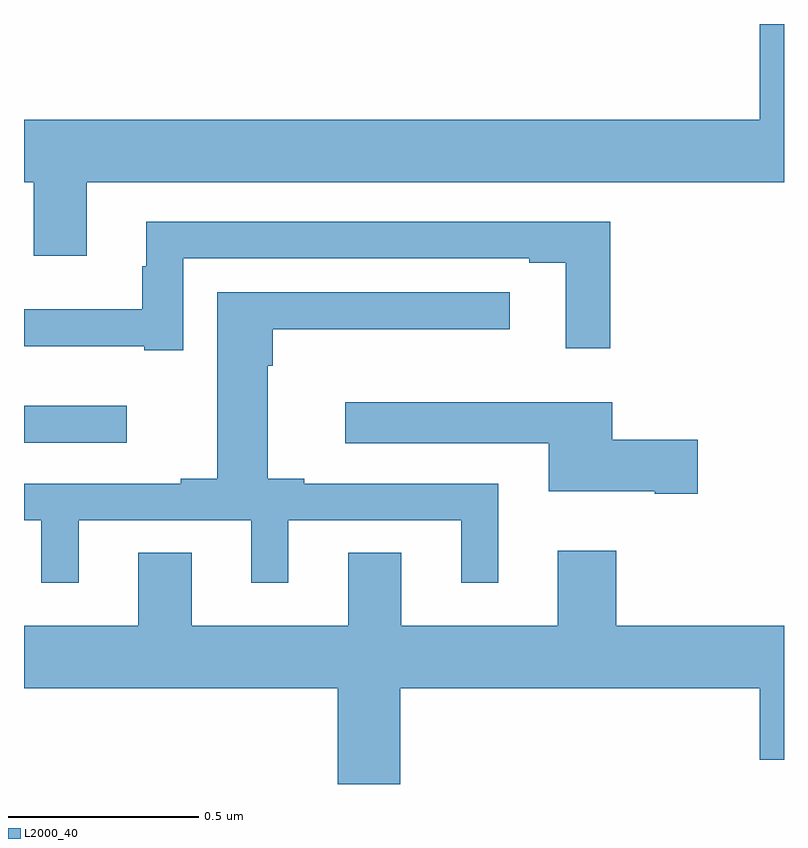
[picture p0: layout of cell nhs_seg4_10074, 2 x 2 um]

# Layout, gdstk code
import gdstk
lib = gdstk.Library(unit=1e-6, precision=1e-09)
def R(c, l, rs):  # rectangles x0, y0, x1, y1
    for r in rs: c.add(gdstk.rectangle(r[:2], r[2:], *l))
def P(c, l, *ps):  # polygons
    for p in ps: c.add(gdstk.Polygon(p, *l))
L2000_40 = (2000, 40)

nhs_seg4_10074 = lib.new_cell('nhs_seg4_10074')
R(nhs_seg4_10074, L2000_40, [(235,798.798,235.27,798.895)])
P(nhs_seg4_10074, L2000_40, [(235.165,799.484),(237,799.484),(237,799.9),(236.936,799.9),(236.936,799.648),(235,799.648),(235,799.484),(235.025,799.484),(235.025,799.29),(235.165,799.29)],
  [(235.419,799.284),(236.33,799.284),(236.33,799.272),(236.426,799.272),(236.426,799.047),(236.543,799.047),(236.543,799.38),(235.322,799.38),(235.322,799.262),(235.311,799.262),(235.311,799.15),(235,799.15),(235,799.052),(235.316,799.052),(235.316,799.041),(235.419,799.041)],
  [(235.144,798.594),(235.598,798.594),(235.598,798.429),(235.696,798.429),(235.696,798.594),(236.15,798.594),(236.15,798.429),(236.248,798.429),(236.248,798.69),(235.738,798.69),(235.738,798.703),(235.642,798.703),(235.642,799.001),(235.655,799.001),(235.655,799.097),(236.278,799.097),(236.278,799.194),(235.508,799.194),(235.508,798.703),(235.412,798.703),(235.412,798.69),(235,798.69),(235,798.594),(235.046,798.594),(235.046,798.429),(235.144,798.429)],
  [(236.773,798.806),(236.548,798.806),(236.548,798.904),(235.845,798.904),(235.845,798.797),(236.381,798.797),(236.381,798.671),(236.66,798.671),(236.66,798.664),(236.773,798.664)],
  [(236.405,798.514),(236.405,798.316),(235.993,798.316),(235.993,798.509),(235.853,798.509),(235.853,798.316),(235.441,798.316),(235.441,798.509),(235.301,798.509),(235.301,798.316),(235,798.316),(235,798.152),(235.826,798.152),(235.826,797.9),(235.99,797.9),(235.99,798.152),(236.936,798.152),(236.936,797.964),(237,797.964),(237,798.316),(236.558,798.316),(236.558,798.514)])

lib.write_gds('nhs_seg4_10074.gds')
